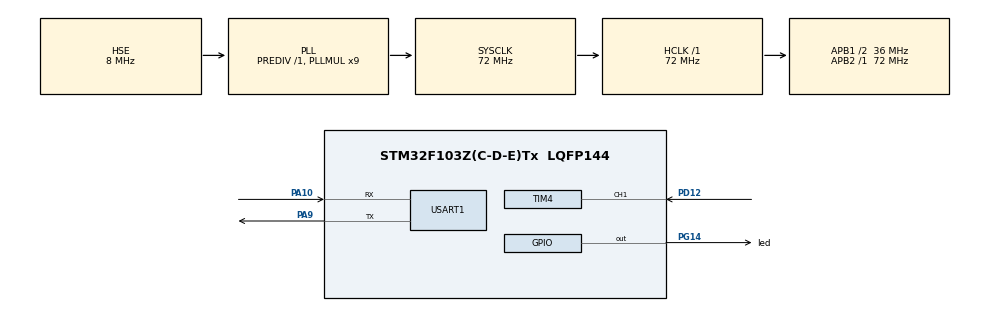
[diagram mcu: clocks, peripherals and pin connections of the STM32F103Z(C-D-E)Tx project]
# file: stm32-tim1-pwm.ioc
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Mcu.Family=STM32F1
Mcu.Name=STM32F103Z(C-D-E)Tx
Mcu.Package=LQFP144
NVIC.PriorityGroup=NVIC_PRIORITYGROUP_4
NVIC.TIM4_IRQn=true\:0\:0\:false\:false\:true\:true\:true\:true
OSC_IN.Mode=HSE-External-Oscillator
OSC_IN.Signal=RCC_OSC_IN
OSC_OUT.Mode=HSE-External-Oscillator
OSC_OUT.Signal=RCC_OSC_OUT
PA10.Mode=Asynchronous
PA10.Signal=USART1_RX
PA13.Mode=Serial_Wire
PA13.Signal=SYS_JTMS-SWDIO
PA14.Mode=Serial_Wire
PA14.Signal=SYS_JTCK-SWCLK
PA9.Mode=Asynchronous
PA9.Signal=USART1_TX
PD12.Signal=S_TIM4_CH1
PD13.Signal=S_TIM4_CH2
PG14.GPIO_Label=led
PG14.Signal=GPIO_Output
ProjectManager.HeapSize=0x200
ProjectManager.StackSize=0x400
ProjectManager.TargetToolchain=STM32CubeIDE
RCC.AHBFreq_Value=72000000
RCC.APB1CLKDivider=RCC_HCLK_DIV2
RCC.APB1Freq_Value=36000000
RCC.APB1TimFreq_Value=72000000
RCC.APB2Freq_Value=72000000
RCC.APB2TimFreq_Value=72000000
RCC.HCLKFreq_Value=72000000
RCC.PLLMUL=RCC_PLL_MUL9
RCC.PLLSourceVirtual=RCC_PLLSOURCE_HSE
RCC.SYSCLKFreq_VALUE=72000000
RCC.SYSCLKSource=RCC_SYSCLKSOURCE_PLLCLK
RCC.USBFreq_Value=72000000
SH.S_TIM4_CH1.0=TIM4_CH1,PWM_Input_1
SH.S_TIM4_CH2.0=TIM4_CH2
USART1.VirtualMode=VM_ASYNC
VP_TIM4_VS_ClockSourceINT.Mode=Internal
board=custom

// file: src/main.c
/* USER CODE BEGIN Header */
/**
  ******************************************************************************
  * @file           : main.c
  * @brief          : Main program body
  ******************************************************************************
  * @attention
  *
  * <h2><center>&copy; Copyright (c) 2022 STMicroelectronics.
  * All rights reserved.</center></h2>
  *
  * This software component is licensed by ST under BSD 3-Clause license,
  * the "License"; You may not use this file except in compliance with the
  * License. You may obtain a copy of the License at:
  *                        opensource.org/licenses/BSD-3-Clause
  *
  ******************************************************************************
  */

 /**
 * @file main.c
 *
 * 这里pwm dma中断和定时器更新中断不能同时打开，很奇怪还没有找到原因。
 * 目标：理解并实现定时器的基础定时、输入捕获、输出比较、PWM、单脉冲输出以及中断的使用
 * 中断：更新、触发、输入捕获、输出比较
 *
 * @author your name (you@domain.com)
 * @brief
 * @version 0.1
 * @date 2022-04-10
 *
 * @copyright Copyright (c) 2022
 *
 */
/* USER CODE END Header */
#include<stdio.h>
#include "main.h"
#include "dma.h"
#include "tim.h"
#include "gpio.h"
#include "usart.h"

void SystemClock_Config(void);

uint32_t pre_tick1=0;
uint32_t pre_tick100=0;
uint32_t pre_tick500=0;
uint32_t curr_ticks=0;
int main(void)
{

  /* MCU Configuration--------------------------------------------------------*/

  /* Reset of all peripherals, Initializes the Flash interface and the Systick. */
  HAL_Init();

  /* Configure the system clock */
  SystemClock_Config();

  /* Initialize all configured peripherals */
  MX_GPIO_Init();
  MX_USART1_UART_Init();
  MX_DMA_Init();
  MX_TIM4_Init();

  /* Infinite loop */
  /* USER CODE BEGIN WHILE */
#ifdef PWM_MODE
  HAL_TIM_PWM_Start(&htim4,TIM_CHANNEL_2);
#endif
#ifdef OC_MODE
  HAL_TIM_OC_Start(&htim4,TIM_CHANNEL_2);
#endif
#ifdef IC_MODE
#ifdef PWM_INPUT
  HAL_TIM_IC_Start(&htim4, TIM_CHANNEL_1);
  HAL_TIM_IC_Start(&htim4, TIM_CHANNEL_2);
#else
  HAL_TIM_IC_Start_IT(&htim4,TIM_CHANNEL_1);
#endif
#endif
#ifdef ONE_PULSE_MODE
  HAL_TIM_OnePulse_Start(&htim4,TIM_CHANNEL_2);
#endif

    //__HAL_TIM_SET_COMPARE(&htim4,TIM_CHANNEL_2,5);
    // LL_TIM_GenerateEvent_UPDATE(TIM4); //apply new compare value immediately，below same
    //    TIM4->EGR = TIM_EGR_UG;
    pre_tick1=HAL_GetTick();
    pre_tick100=pre_tick1;
    pre_tick500=pre_tick1;
    curr_ticks=pre_tick500;
    int8_t i=1;
  while (1)
  {
    /* USER CODE END WHILE */
#if defined(PWM_MODE)||defined(OC_MODE)
    if(curr_ticks-pre_tick1>=1){
      pre_tick1=curr_ticks;
      t4pwm_value+=i;
      if(t4pwm_value>=1000||t4pwm_value<=0)
      {
        i=-i;
      }
    __HAL_TIM_SET_COMPARE(&htim4,TIM_CHANNEL_2,t4pwm_value);
    }
#endif
    if(curr_ticks-pre_tick100>=100){
        pre_tick100=curr_ticks;
    }
    if(curr_ticks-pre_tick500>=500){
      pre_tick500=curr_ticks;
      HAL_GPIO_TogglePin(led_GPIO_Port,led_Pin);
       //HAL_TIM_OC_Start(&htim4,TIM_CHANNEL_2);  //内部会检查通道的状态HAL_TIM_CHANNEL_STATE_READY，start后就是busy，
#ifdef ONE_PULSE_MODE                                                  //在stop、init或者dma回调函数中才会设置ready。
      __HAL_TIM_ENABLE(&htim4);     //test opm
#endif
#ifdef IC_MODE
      #ifdef PWM_INPUT
      printf("ic get period %d %d\r\n",HAL_TIM_ReadCapturedValue(&htim4, TIM_CHANNEL_1),t4period);
      printf("ic get pwmval %d %d\r\n",HAL_TIM_ReadCapturedValue(&htim4, TIM_CHANNEL_2),t4pwm_value);
      #else
      printf("ic get value %d\r\n",t4ic_value);
      #endif
#endif
    }
    curr_ticks=HAL_GetTick();
  }
}
void SystemClock_Config(void)
{
  RCC_OscInitTypeDef RCC_OscInitStruct = {0};
  RCC_ClkInitTypeDef RCC_ClkInitStruct = {0};

  /** Initializes the RCC Oscillators according to the specified parameters
  * in the RCC_OscInitTypeDef structure.
  */
  RCC_OscInitStruct.OscillatorType = RCC_OSCILLATORTYPE_HSE;
  RCC_OscInitStruct.HSEState = RCC_HSE_ON;
  RCC_OscInitStruct.HSEPredivValue = RCC_HSE_PREDIV_DIV1;
  RCC_OscInitStruct.HSIState = RCC_HSI_ON;
  RCC_OscInitStruct.PLL.PLLState = RCC_PLL_ON;
  RCC_OscInitStruct.PLL.PLLSource = RCC_PLLSOURCE_HSE;
  RCC_OscInitStruct.PLL.PLLMUL = RCC_PLL_MUL9;
  if (HAL_RCC_OscConfig(&RCC_OscInitStruct) != HAL_OK)
  {
    Error_Handler();
  }
  /** Initializes the CPU, AHB and APB buses clocks
  */
  RCC_ClkInitStruct.ClockType = RCC_CLOCKTYPE_HCLK|RCC_CLOCKTYPE_SYSCLK
                              |RCC_CLOCKTYPE_PCLK1|RCC_CLOCKTYPE_PCLK2;
  RCC_ClkInitStruct.SYSCLKSource = RCC_SYSCLKSOURCE_PLLCLK;
  RCC_ClkInitStruct.AHBCLKDivider = RCC_SYSCLK_DIV1;
  RCC_ClkInitStruct.APB1CLKDivider = RCC_HCLK_DIV2;
  RCC_ClkInitStruct.APB2CLKDivider = RCC_HCLK_DIV1;

  if (HAL_RCC_ClockConfig(&RCC_ClkInitStruct, FLASH_LATENCY_2) != HAL_OK)
  {
    Error_Handler();
  }
}

void Error_Handler(void)
{
  __disable_irq();
  while (1)
  {
  }
}

/************************ (C) COPYRIGHT STMicroelectronics *****END OF FILE****/
